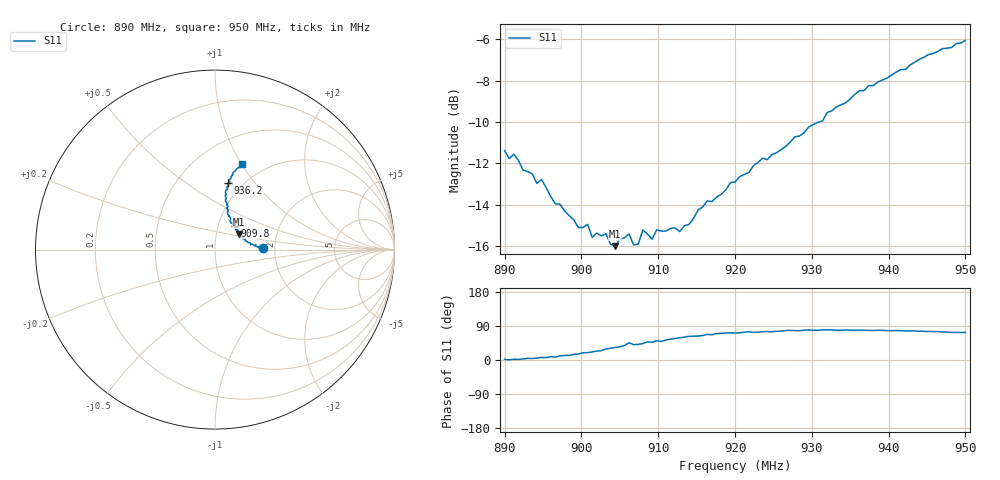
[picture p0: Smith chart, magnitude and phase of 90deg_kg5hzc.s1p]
# HZ S RI R 50
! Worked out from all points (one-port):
!   101 points, 890 MHz to 950 MHz, reference 50 ohm
!   lowest |S11| = -16.0 dB at 904.4 MHz (marker M1), VSWR 1.38, Z = 64.2 + j11.4 ohm
!   |S11| at or under -10 dB: start of sweep to 930.9 MHz
!   S11 on the Smith chart (normalised r, x): 890 MHz: 1.74, +0.03; 909.8 MHz: 1.20, +0.33; 936.2 MHz: 0.86, +0.74; 950 MHz: 0.79, +1.00
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8.9e8  0.2692 0.00762
8.906e8  0.2578 0.0014
8.912e8  0.264 0.00934
8.942e8  0.2237 0.0196
8.948e8  0.2279 0.0274
8.966e8  0.1988 0.0268
8.978e8  0.1885 0.0403
8.996e8  0.169 0.0485
9.008e8  0.1687 0.0593
9.014e8  0.155 0.0605
9.032e8  0.1484 0.0821
9.038e8  0.1371 0.0826
9.044e8  0.1328 0.0863
9.05e8  0.1351 0.0939
9.062e8  0.1193 0.1204
9.068e8  0.1211 0.1039
9.074e8  0.1206 0.1055
9.08e8  0.1254 0.1195
9.092e8  0.1129 0.1197
9.098e8  0.1099 0.1342
9.128e8  0.0895 0.1466
9.164e8  0.0777 0.1884
9.2e8  0.0728 0.2142
9.278e8  0.0629 0.2842
9.35e8  0.0708 0.3521
9.362e8  0.0719 0.3693
9.428e8  0.0982 0.4231
9.5e8  0.1477 0.4752
